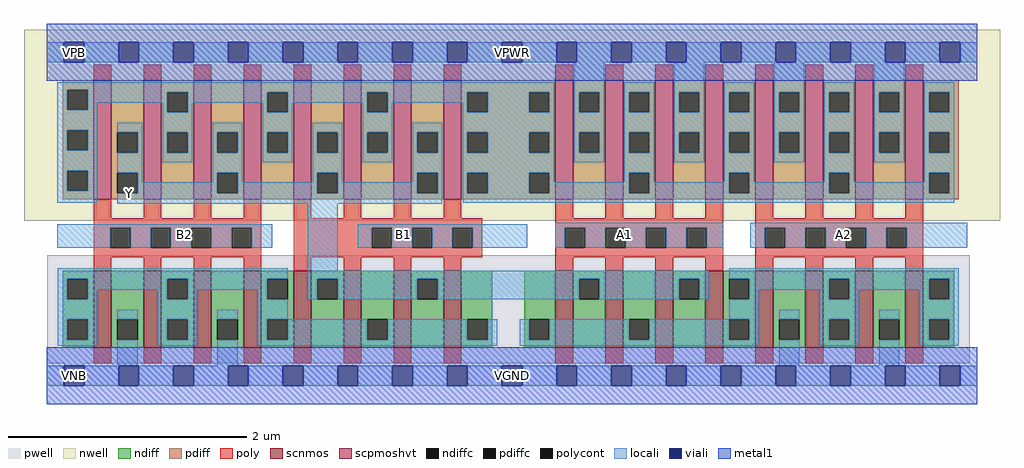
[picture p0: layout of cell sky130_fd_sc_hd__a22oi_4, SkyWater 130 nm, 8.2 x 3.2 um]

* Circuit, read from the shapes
.subckt sky130_fd_sc_hd__a22oi_4 A1 A2 B1 B2 VGND VNB VPB VPWR Y
XM1 VGND B2 n1 VNB sky130_fd_pr__nfet_01v8 w=0.65 l=0.15 m=4
XM2 Y B1 n1 VNB sky130_fd_pr__nfet_01v8 w=0.65 l=0.15 m=4
XM3 Y A1 n2 VNB sky130_fd_pr__nfet_01v8 w=0.65 l=0.15 m=4
XM4 VGND A2 n2 VNB sky130_fd_pr__nfet_01v8 w=0.65 l=0.15 m=4
XM5 Y B2 n3 VPB sky130_fd_pr__pfet_01v8_hvt w=1 l=0.15 m=4
XM6 Y B1 n3 VPB sky130_fd_pr__pfet_01v8_hvt w=1 l=0.15 m=4
XM7 VPWR A1 n3 VPB sky130_fd_pr__pfet_01v8_hvt w=1 l=0.15 m=4
XM8 VPWR A2 n3 VPB sky130_fd_pr__pfet_01v8_hvt w=1 l=0.15 m=4
.ends

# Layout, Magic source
magic
tech sky130A
magscale 1 2
<< nwell >>
rect -38 261 1602 582
<< pwell >>
rect 1 21 1551 203
rect 30 -17 64 21
<< scnmos >>
rect 79 47 109 177
rect 163 47 193 177
rect 247 47 277 177
rect 331 47 361 177
rect 415 47 445 177
rect 499 47 529 177
rect 583 47 613 177
rect 667 47 697 177
rect 855 47 885 177
rect 939 47 969 177
rect 1023 47 1053 177
rect 1107 47 1137 177
rect 1191 47 1221 177
rect 1275 47 1305 177
rect 1359 47 1389 177
rect 1443 47 1473 177
<< scpmoshvt >>
rect 79 297 109 497
rect 163 297 193 497
rect 247 297 277 497
rect 331 297 361 497
rect 415 297 445 497
rect 499 297 529 497
rect 583 297 613 497
rect 667 297 697 497
rect 855 297 885 497
rect 939 297 969 497
rect 1023 297 1053 497
rect 1107 297 1137 497
rect 1191 297 1221 497
rect 1275 297 1305 497
rect 1359 297 1389 497
rect 1443 297 1473 497
<< ndiff >>
rect 27 163 79 177
rect 27 129 35 163
rect 69 129 79 163
rect 27 95 79 129
rect 27 61 35 95
rect 69 61 79 95
rect 27 47 79 61
rect 109 95 163 177
rect 109 61 119 95
rect 153 61 163 95
rect 109 47 163 61
rect 193 163 247 177
rect 193 129 203 163
rect 237 129 247 163
rect 193 95 247 129
rect 193 61 203 95
rect 237 61 247 95
rect 193 47 247 61
rect 277 95 331 177
rect 277 61 287 95
rect 321 61 331 95
rect 277 47 331 61
rect 361 163 415 177
rect 361 129 371 163
rect 405 129 415 163
rect 361 95 415 129
rect 361 61 371 95
rect 405 61 415 95
rect 361 47 415 61
rect 445 163 499 177
rect 445 129 455 163
rect 489 129 499 163
rect 445 47 499 129
rect 529 95 583 177
rect 529 61 539 95
rect 573 61 583 95
rect 529 47 583 61
rect 613 163 667 177
rect 613 129 623 163
rect 657 129 667 163
rect 613 47 667 129
rect 697 95 749 177
rect 697 61 707 95
rect 741 61 749 95
rect 697 47 749 61
rect 803 95 855 177
rect 803 61 811 95
rect 845 61 855 95
rect 803 47 855 61
rect 885 163 939 177
rect 885 129 895 163
rect 929 129 939 163
rect 885 47 939 129
rect 969 95 1023 177
rect 969 61 979 95
rect 1013 61 1023 95
rect 969 47 1023 61
rect 1053 163 1107 177
rect 1053 129 1063 163
rect 1097 129 1107 163
rect 1053 47 1107 129
rect 1137 163 1191 177
rect 1137 129 1147 163
rect 1181 129 1191 163
rect 1137 95 1191 129
rect 1137 61 1147 95
rect 1181 61 1191 95
rect 1137 47 1191 61
rect 1221 95 1275 177
rect 1221 61 1231 95
rect 1265 61 1275 95
rect 1221 47 1275 61
rect 1305 163 1359 177
rect 1305 129 1315 163
rect 1349 129 1359 163
rect 1305 95 1359 129
rect 1305 61 1315 95
rect 1349 61 1359 95
rect 1305 47 1359 61
rect 1389 95 1443 177
rect 1389 61 1399 95
rect 1433 61 1443 95
rect 1389 47 1443 61
rect 1473 163 1525 177
rect 1473 129 1483 163
rect 1517 129 1525 163
rect 1473 95 1525 129
rect 1473 61 1483 95
rect 1517 61 1525 95
rect 1473 47 1525 61
<< pdiff >>
rect 27 481 79 497
rect 27 447 35 481
rect 69 447 79 481
rect 27 413 79 447
rect 27 379 35 413
rect 69 379 79 413
rect 27 345 79 379
rect 27 311 35 345
rect 69 311 79 345
rect 27 297 79 311
rect 109 409 163 497
rect 109 375 119 409
rect 153 375 163 409
rect 109 341 163 375
rect 109 307 119 341
rect 153 307 163 341
rect 109 297 163 307
rect 193 477 247 497
rect 193 443 203 477
rect 237 443 247 477
rect 193 409 247 443
rect 193 375 203 409
rect 237 375 247 409
rect 193 297 247 375
rect 277 409 331 497
rect 277 375 287 409
rect 321 375 331 409
rect 277 341 331 375
rect 277 307 287 341
rect 321 307 331 341
rect 277 297 331 307
rect 361 477 415 497
rect 361 443 371 477
rect 405 443 415 477
rect 361 409 415 443
rect 361 375 371 409
rect 405 375 415 409
rect 361 297 415 375
rect 445 409 499 497
rect 445 375 455 409
rect 489 375 499 409
rect 445 341 499 375
rect 445 307 455 341
rect 489 307 499 341
rect 445 297 499 307
rect 529 477 583 497
rect 529 443 539 477
rect 573 443 583 477
rect 529 409 583 443
rect 529 375 539 409
rect 573 375 583 409
rect 529 297 583 375
rect 613 409 667 497
rect 613 375 623 409
rect 657 375 667 409
rect 613 341 667 375
rect 613 307 623 341
rect 657 307 667 341
rect 613 297 667 307
rect 697 477 855 497
rect 697 443 707 477
rect 741 443 811 477
rect 845 443 855 477
rect 697 409 855 443
rect 697 375 707 409
rect 741 375 811 409
rect 845 375 855 409
rect 697 341 855 375
rect 697 307 707 341
rect 741 307 811 341
rect 845 307 855 341
rect 697 297 855 307
rect 885 477 939 497
rect 885 443 895 477
rect 929 443 939 477
rect 885 409 939 443
rect 885 375 895 409
rect 929 375 939 409
rect 885 297 939 375
rect 969 477 1023 497
rect 969 443 979 477
rect 1013 443 1023 477
rect 969 409 1023 443
rect 969 375 979 409
rect 1013 375 1023 409
rect 969 341 1023 375
rect 969 307 979 341
rect 1013 307 1023 341
rect 969 297 1023 307
rect 1053 477 1107 497
rect 1053 443 1063 477
rect 1097 443 1107 477
rect 1053 409 1107 443
rect 1053 375 1063 409
rect 1097 375 1107 409
rect 1053 297 1107 375
rect 1137 477 1191 497
rect 1137 443 1147 477
rect 1181 443 1191 477
rect 1137 409 1191 443
rect 1137 375 1147 409
rect 1181 375 1191 409
rect 1137 341 1191 375
rect 1137 307 1147 341
rect 1181 307 1191 341
rect 1137 297 1191 307
rect 1221 477 1275 497
rect 1221 443 1231 477
rect 1265 443 1275 477
rect 1221 409 1275 443
rect 1221 375 1231 409
rect 1265 375 1275 409
rect 1221 297 1275 375
rect 1305 477 1359 497
rect 1305 443 1315 477
rect 1349 443 1359 477
rect 1305 409 1359 443
rect 1305 375 1315 409
rect 1349 375 1359 409
rect 1305 341 1359 375
rect 1305 307 1315 341
rect 1349 307 1359 341
rect 1305 297 1359 307
rect 1389 477 1443 497
rect 1389 443 1399 477
rect 1433 443 1443 477
rect 1389 409 1443 443
rect 1389 375 1399 409
rect 1433 375 1443 409
rect 1389 297 1443 375
rect 1473 477 1533 497
rect 1473 443 1483 477
rect 1517 443 1533 477
rect 1473 409 1533 443
rect 1473 375 1483 409
rect 1517 375 1533 409
rect 1473 341 1533 375
rect 1473 307 1483 341
rect 1517 307 1533 341
rect 1473 297 1533 307
<< ndiffc >>
rect 35 129 69 163
rect 35 61 69 95
rect 119 61 153 95
rect 203 129 237 163
rect 203 61 237 95
rect 287 61 321 95
rect 371 129 405 163
rect 371 61 405 95
rect 455 129 489 163
rect 539 61 573 95
rect 623 129 657 163
rect 707 61 741 95
rect 811 61 845 95
rect 895 129 929 163
rect 979 61 1013 95
rect 1063 129 1097 163
rect 1147 129 1181 163
rect 1147 61 1181 95
rect 1231 61 1265 95
rect 1315 129 1349 163
rect 1315 61 1349 95
rect 1399 61 1433 95
rect 1483 129 1517 163
rect 1483 61 1517 95
<< pdiffc >>
rect 35 447 69 481
rect 35 379 69 413
rect 35 311 69 345
rect 119 375 153 409
rect 119 307 153 341
rect 203 443 237 477
rect 203 375 237 409
rect 287 375 321 409
rect 287 307 321 341
rect 371 443 405 477
rect 371 375 405 409
rect 455 375 489 409
rect 455 307 489 341
rect 539 443 573 477
rect 539 375 573 409
rect 623 375 657 409
rect 623 307 657 341
rect 707 443 741 477
rect 811 443 845 477
rect 707 375 741 409
rect 811 375 845 409
rect 707 307 741 341
rect 811 307 845 341
rect 895 443 929 477
rect 895 375 929 409
rect 979 443 1013 477
rect 979 375 1013 409
rect 979 307 1013 341
rect 1063 443 1097 477
rect 1063 375 1097 409
rect 1147 443 1181 477
rect 1147 375 1181 409
rect 1147 307 1181 341
rect 1231 443 1265 477
rect 1231 375 1265 409
rect 1315 443 1349 477
rect 1315 375 1349 409
rect 1315 307 1349 341
rect 1399 443 1433 477
rect 1399 375 1433 409
rect 1483 443 1517 477
rect 1483 375 1517 409
rect 1483 307 1517 341
<< poly >>
rect 79 497 109 523
rect 163 497 193 523
rect 247 497 277 523
rect 331 497 361 523
rect 415 497 445 523
rect 499 497 529 523
rect 583 497 613 523
rect 667 497 697 523
rect 855 497 885 523
rect 939 497 969 523
rect 1023 497 1053 523
rect 1107 497 1137 523
rect 1191 497 1221 523
rect 1275 497 1305 523
rect 1359 497 1389 523
rect 1443 497 1473 523
rect 79 265 109 297
rect 163 265 193 297
rect 247 265 277 297
rect 331 265 361 297
rect 79 249 361 265
rect 79 215 107 249
rect 141 215 175 249
rect 209 215 243 249
rect 277 215 311 249
rect 345 215 361 249
rect 79 199 361 215
rect 79 177 109 199
rect 163 177 193 199
rect 247 177 277 199
rect 331 177 361 199
rect 415 265 445 297
rect 499 265 529 297
rect 583 265 613 297
rect 667 265 697 297
rect 855 265 885 297
rect 939 265 969 297
rect 1023 265 1053 297
rect 1107 265 1137 297
rect 415 249 732 265
rect 415 215 546 249
rect 580 215 614 249
rect 648 215 682 249
rect 716 215 732 249
rect 415 199 732 215
rect 855 249 1137 265
rect 855 215 871 249
rect 905 215 939 249
rect 973 215 1007 249
rect 1041 215 1075 249
rect 1109 215 1137 249
rect 855 199 1137 215
rect 415 177 445 199
rect 499 177 529 199
rect 583 177 613 199
rect 667 177 697 199
rect 855 177 885 199
rect 939 177 969 199
rect 1023 177 1053 199
rect 1107 177 1137 199
rect 1191 265 1221 297
rect 1275 265 1305 297
rect 1359 265 1389 297
rect 1443 265 1473 297
rect 1191 249 1473 265
rect 1191 215 1207 249
rect 1241 215 1275 249
rect 1309 215 1343 249
rect 1377 215 1411 249
rect 1445 215 1473 249
rect 1191 199 1473 215
rect 1191 177 1221 199
rect 1275 177 1305 199
rect 1359 177 1389 199
rect 1443 177 1473 199
rect 79 21 109 47
rect 163 21 193 47
rect 247 21 277 47
rect 331 21 361 47
rect 415 21 445 47
rect 499 21 529 47
rect 583 21 613 47
rect 667 21 697 47
rect 855 21 885 47
rect 939 21 969 47
rect 1023 21 1053 47
rect 1107 21 1137 47
rect 1191 21 1221 47
rect 1275 21 1305 47
rect 1359 21 1389 47
rect 1443 21 1473 47
<< polycont >>
rect 107 215 141 249
rect 175 215 209 249
rect 243 215 277 249
rect 311 215 345 249
rect 546 215 580 249
rect 614 215 648 249
rect 682 215 716 249
rect 871 215 905 249
rect 939 215 973 249
rect 1007 215 1041 249
rect 1075 215 1109 249
rect 1207 215 1241 249
rect 1275 215 1309 249
rect 1343 215 1377 249
rect 1411 215 1445 249
<< locali >>
rect 0 527 29 561
rect 63 527 121 561
rect 155 527 213 561
rect 247 527 305 561
rect 339 527 397 561
rect 431 527 489 561
rect 523 527 581 561
rect 615 527 673 561
rect 707 527 765 561
rect 799 527 857 561
rect 891 527 949 561
rect 983 527 1041 561
rect 1075 527 1133 561
rect 1167 527 1225 561
rect 1259 527 1317 561
rect 1351 527 1409 561
rect 1443 527 1501 561
rect 1535 527 1564 561
rect 18 481 853 493
rect 18 447 35 481
rect 69 477 853 481
rect 69 459 203 477
rect 69 447 85 459
rect 18 413 85 447
rect 195 443 203 459
rect 237 459 371 477
rect 237 443 245 459
rect 18 379 35 413
rect 69 379 85 413
rect 18 345 85 379
rect 18 311 35 345
rect 69 311 85 345
rect 18 291 85 311
rect 119 409 161 425
rect 153 375 161 409
rect 119 341 161 375
rect 195 409 245 443
rect 363 443 371 459
rect 405 459 539 477
rect 405 443 413 459
rect 195 375 203 409
rect 237 375 245 409
rect 195 359 245 375
rect 279 409 329 425
rect 279 375 287 409
rect 321 375 329 409
rect 153 325 161 341
rect 279 341 329 375
rect 363 409 413 443
rect 531 443 539 459
rect 573 459 707 477
rect 573 443 581 459
rect 363 375 371 409
rect 405 375 413 409
rect 363 359 413 375
rect 447 409 497 425
rect 447 375 455 409
rect 489 375 497 409
rect 279 325 287 341
rect 153 307 287 325
rect 321 325 329 341
rect 447 341 497 375
rect 531 409 581 443
rect 699 443 707 459
rect 741 443 811 477
rect 845 443 853 477
rect 531 375 539 409
rect 573 375 581 409
rect 531 359 581 375
rect 615 409 665 425
rect 615 375 623 409
rect 657 375 665 409
rect 447 325 455 341
rect 321 307 455 325
rect 489 325 497 341
rect 615 341 665 375
rect 615 325 623 341
rect 489 307 623 325
rect 657 307 665 341
rect 119 289 665 307
rect 699 409 853 443
rect 699 375 707 409
rect 741 375 811 409
rect 845 375 853 409
rect 699 341 853 375
rect 887 477 937 527
rect 887 443 895 477
rect 929 443 937 477
rect 887 409 937 443
rect 887 375 895 409
rect 929 375 937 409
rect 887 359 937 375
rect 971 477 1021 493
rect 971 443 979 477
rect 1013 443 1021 477
rect 971 409 1021 443
rect 971 375 979 409
rect 1013 375 1021 409
rect 699 307 707 341
rect 741 307 811 341
rect 845 325 853 341
rect 971 341 1021 375
rect 1055 477 1105 527
rect 1055 443 1063 477
rect 1097 443 1105 477
rect 1055 409 1105 443
rect 1055 375 1063 409
rect 1097 375 1105 409
rect 1055 359 1105 375
rect 1139 477 1189 493
rect 1139 443 1147 477
rect 1181 443 1189 477
rect 1139 409 1189 443
rect 1139 375 1147 409
rect 1181 375 1189 409
rect 971 325 979 341
rect 845 307 979 325
rect 1013 325 1021 341
rect 1139 341 1189 375
rect 1223 477 1273 527
rect 1223 443 1231 477
rect 1265 443 1273 477
rect 1223 409 1273 443
rect 1223 375 1231 409
rect 1265 375 1273 409
rect 1223 359 1273 375
rect 1307 477 1357 493
rect 1307 443 1315 477
rect 1349 443 1357 477
rect 1307 409 1357 443
rect 1307 375 1315 409
rect 1349 375 1357 409
rect 1139 325 1147 341
rect 1013 307 1147 325
rect 1181 325 1189 341
rect 1307 341 1357 375
rect 1391 477 1441 527
rect 1391 443 1399 477
rect 1433 443 1441 477
rect 1391 409 1441 443
rect 1391 375 1399 409
rect 1433 375 1441 409
rect 1391 359 1441 375
rect 1475 477 1525 493
rect 1475 443 1483 477
rect 1517 443 1525 477
rect 1475 409 1525 443
rect 1475 375 1483 409
rect 1517 375 1525 409
rect 1307 325 1315 341
rect 1181 307 1315 325
rect 1349 325 1357 341
rect 1475 341 1525 375
rect 1475 325 1483 341
rect 1349 307 1483 325
rect 1517 307 1525 341
rect 699 291 1525 307
rect 18 249 379 255
rect 18 215 107 249
rect 141 215 175 249
rect 209 215 243 249
rect 277 215 311 249
rect 345 215 379 249
rect 19 163 405 181
rect 19 129 35 163
rect 69 145 203 163
rect 69 129 85 145
rect 19 95 85 129
rect 187 129 203 145
rect 237 145 371 163
rect 237 129 253 145
rect 19 61 35 95
rect 69 61 85 95
rect 19 51 85 61
rect 119 95 153 111
rect 119 17 153 61
rect 187 95 253 129
rect 355 129 371 145
rect 439 177 489 289
rect 523 249 808 255
rect 523 215 546 249
rect 580 215 614 249
rect 648 215 682 249
rect 716 215 808 249
rect 855 249 1137 257
rect 855 215 871 249
rect 905 215 939 249
rect 973 215 1007 249
rect 1041 215 1075 249
rect 1109 215 1137 249
rect 1182 249 1547 257
rect 1182 215 1207 249
rect 1241 215 1275 249
rect 1309 215 1343 249
rect 1377 215 1411 249
rect 1445 215 1547 249
rect 439 163 1113 177
rect 439 129 455 163
rect 489 129 623 163
rect 657 129 895 163
rect 929 129 1063 163
rect 1097 129 1113 163
rect 1147 163 1533 181
rect 1181 145 1315 163
rect 1181 129 1197 145
rect 187 61 203 95
rect 237 61 253 95
rect 187 51 253 61
rect 287 95 321 111
rect 287 17 321 61
rect 355 95 405 129
rect 1147 95 1197 129
rect 1299 129 1315 145
rect 1349 145 1483 163
rect 1349 129 1365 145
rect 355 61 371 95
rect 405 61 539 95
rect 573 61 707 95
rect 741 61 757 95
rect 355 51 757 61
rect 795 61 811 95
rect 845 61 979 95
rect 1013 61 1147 95
rect 1181 61 1197 95
rect 795 51 1197 61
rect 1231 95 1265 111
rect 1231 17 1265 61
rect 1299 95 1365 129
rect 1467 129 1483 145
rect 1517 129 1533 163
rect 1299 61 1315 95
rect 1349 61 1365 95
rect 1299 51 1365 61
rect 1399 95 1433 111
rect 1399 17 1433 61
rect 1467 95 1533 129
rect 1467 61 1483 95
rect 1517 61 1533 95
rect 1467 51 1533 61
rect 0 -17 29 17
rect 63 -17 121 17
rect 155 -17 213 17
rect 247 -17 305 17
rect 339 -17 397 17
rect 431 -17 489 17
rect 523 -17 581 17
rect 615 -17 673 17
rect 707 -17 765 17
rect 799 -17 857 17
rect 891 -17 949 17
rect 983 -17 1041 17
rect 1075 -17 1133 17
rect 1167 -17 1225 17
rect 1259 -17 1317 17
rect 1351 -17 1409 17
rect 1443 -17 1501 17
rect 1535 -17 1564 17
<< viali >>
rect 29 527 63 561
rect 121 527 155 561
rect 213 527 247 561
rect 305 527 339 561
rect 397 527 431 561
rect 489 527 523 561
rect 581 527 615 561
rect 673 527 707 561
rect 765 527 799 561
rect 857 527 891 561
rect 949 527 983 561
rect 1041 527 1075 561
rect 1133 527 1167 561
rect 1225 527 1259 561
rect 1317 527 1351 561
rect 1409 527 1443 561
rect 1501 527 1535 561
rect 29 -17 63 17
rect 121 -17 155 17
rect 213 -17 247 17
rect 305 -17 339 17
rect 397 -17 431 17
rect 489 -17 523 17
rect 581 -17 615 17
rect 673 -17 707 17
rect 765 -17 799 17
rect 857 -17 891 17
rect 949 -17 983 17
rect 1041 -17 1075 17
rect 1133 -17 1167 17
rect 1225 -17 1259 17
rect 1317 -17 1351 17
rect 1409 -17 1443 17
rect 1501 -17 1535 17
<< metal1 >>
rect 0 561 1564 592
rect 0 527 29 561
rect 63 527 121 561
rect 155 527 213 561
rect 247 527 305 561
rect 339 527 397 561
rect 431 527 489 561
rect 523 527 581 561
rect 615 527 673 561
rect 707 527 765 561
rect 799 527 857 561
rect 891 527 949 561
rect 983 527 1041 561
rect 1075 527 1133 561
rect 1167 527 1225 561
rect 1259 527 1317 561
rect 1351 527 1409 561
rect 1443 527 1501 561
rect 1535 527 1564 561
rect 0 496 1564 527
rect 0 17 1564 48
rect 0 -17 29 17
rect 63 -17 121 17
rect 155 -17 213 17
rect 247 -17 305 17
rect 339 -17 397 17
rect 431 -17 489 17
rect 523 -17 581 17
rect 615 -17 673 17
rect 707 -17 765 17
rect 799 -17 857 17
rect 891 -17 949 17
rect 983 -17 1041 17
rect 1075 -17 1133 17
rect 1167 -17 1225 17
rect 1259 -17 1317 17
rect 1351 -17 1409 17
rect 1443 -17 1501 17
rect 1535 -17 1564 17
rect 0 -48 1564 -17
<< labels >>
flabel locali s 1322 221 1356 255 0 FreeSans 400 0 0 0 A2
port 2 nsew signal input
flabel locali s 214 221 248 255 0 FreeSans 400 180 0 0 B2
port 4 nsew signal input
flabel locali s 954 221 988 255 0 FreeSans 400 0 0 0 A1
port 1 nsew signal input
flabel locali s 582 221 616 255 0 FreeSans 400 180 0 0 B1
port 3 nsew signal input
flabel locali s 122 289 156 323 0 FreeSans 400 180 0 0 Y
port 9 nsew signal output
flabel pwell s 30 -17 64 17 0 FreeSans 200 0 0 0 VNB
port 6 nsew ground bidirectional
flabel nwell s 30 527 64 561 0 FreeSans 200 0 0 0 VPB
port 7 nsew power bidirectional
flabel metal1 s 30 -17 64 17 0 FreeSans 200 0 0 0 VGND
port 5 nsew ground bidirectional abutment
flabel metal1 s 30 527 64 561 0 FreeSans 200 0 0 0 VPWR
port 8 nsew power bidirectional abutment
rlabel comment s 0 0 0 0 4 a22oi_4
rlabel metal1 s 0 -48 1564 48 1 VGND
port 5 nsew ground bidirectional abutment
rlabel metal1 s 0 496 1564 592 1 VPWR
port 8 nsew power bidirectional abutment
<< properties >>
string FIXED_BBOX 0 0 1564 544
string GDS_END 4086114
string GDS_FILE $PDKPATH/libs.ref/sky130_fd_sc_hd/gds/sky130_fd_sc_hd.gds
string GDS_START 4074122
string LEFclass CORE
string LEFsite unithd
string LEFsymmetry X Y R90
string path 0.000 0.000 39.100 0.000 
<< end >>
